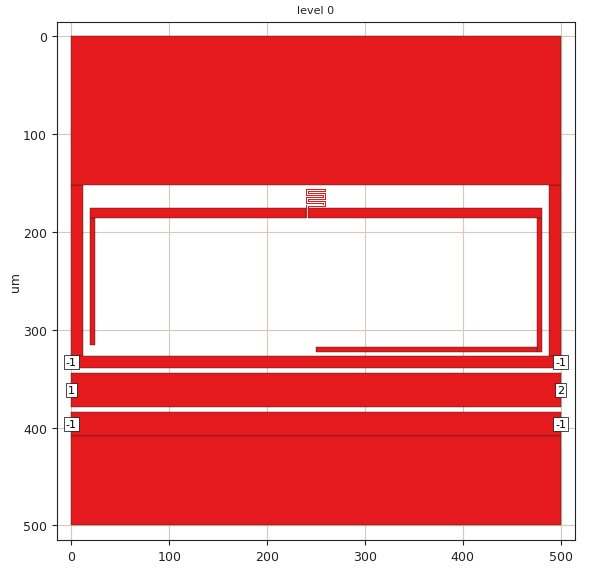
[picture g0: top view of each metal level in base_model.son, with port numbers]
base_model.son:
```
FTYP SONPROJ 19 ! Sonnet Project File
VER 18.58
HEADER
LIC dias60.1.75362
DAT 05/21/2025 12:51:32
BUILT_BY_CREATED xgeom 13.52 04/05/2012 11:22:39
BUILT_BY_SAVED sonnet 18.58
MDATE 05/21/2025 12:51:32
HDATE 05/21/2025 12:51:32
END HEADER
DIM
ANG DEG
CAP PF
CON /OH
FREQ GHZ
IND NH
LNG UM
RES OH
END DIM
CONTROL
VARSWP
OPTIONS  -dj
SPEED 2
CACHE_ABS 1
Q_ACC Y
DET_ABS_RES Y
END CONTROL
GEO
TMET "Lossless" 0 SUP 0 0 0 0
BMET "Lossless" 0 SUP 0 0 0 0
MET "superconductor" 1 SUP 0 0 0 5
MET "TiN multi" 2 SUP 0 0 0 5
MET "thick Ta" 3 SUP 0 0 0 0.001
BOX 1 500 500 1000 1000 20 0
      200 1 1 0 0 0 0 "Unnamed"
      450 9.3 1 0 0 0 0 "Sapphire" A 11.5 1 0 0 0 
LORGN 0 500 U 
POR1 BOX
POLY 690 1
1
-1 50 0 0 0 500 396.5 
POR1 BOX
POLY 690 1
3
-1 50 0 0 0 0 396.5 
POR1 BOX
POLY 695 1
3
1 50 0 0 0 0 361.5 
POR1 BOX
POLY 695 1
1
2 50 0 0 0 500 361.5 
POR1 BOX
POLY 901 1
1
-1 50 0 0 0 500 333 
POR1 BOX
POLY 901 1
3
-1 50 0 0 0 0 333 
NUM 33
0 5 0 N 690 1 1 100 100 0 0 0 Y
0 384
500 384
500 409
0 409
0 384
END
0 5 0 N 691 1 1 100 100 0 0 0 Y
488 152
500 152
500 327
488 327
488 152
END
0 5 0 N 695 1 1 100 100 0 0 0 Y
0 344
500 344
500 379
0 379
0 344
END
0 5 0 N 696 1 1 100 100 0 0 0 Y
0 409
500 409
500 500
0 500
0 409
END
0 5 0 N 731 1 1 100 100 0 0 0 Y
19 186
24 186
24 316
19 316
19 186
END
0 5 0 N 834 1 1 100 100 0 0 0 Y
241 172
258 172
258 173
241 173
241 172
END
0 5 0 N 835 1 1 100 100 0 0 0 Y
257 163
258 163
258 164
257 164
257 163
END
0 5 0 N 836 1 1 100 100 0 0 0 Y
259 169
260 169
260 174
259 174
259 169
END
0 5 0 N 837 1 1 100 100 0 0 0 Y
240 164
241 164
241 170
240 170
240 164
END
0 5 0 N 838 1 1 100 100 0 0 0 Y
257 171
258 171
258 172
257 172
257 171
END
0 5 0 N 839 1 1 100 100 0 0 0 Y
240 156
259 156
259 157
240 157
240 156
END
0 5 0 N 840 1 1 100 100 0 0 0 Y
242 160
260 160
260 161
242 161
242 160
END
0 5 0 N 841 1 1 100 100 0 0 0 Y
241 164
258 164
258 165
241 165
241 164
END
0 5 0 N 842 1 1 100 100 0 0 0 Y
259 156
260 156
260 158
259 158
259 156
END
0 5 0 N 843 1 1 100 100 0 0 0 Y
242 174
260 174
260 175
242 175
242 174
END
0 5 0 N 844 1 1 100 100 0 0 0 Y
240 157
241 157
241 162
240 162
240 157
END
0 5 0 N 845 1 1 100 100 0 0 0 Y
240 170
258 170
258 171
240 171
240 170
END
0 5 0 N 846 1 1 100 100 0 0 0 Y
19 176
240 176
240 186
19 186
19 176
END
0 5 0 N 847 1 1 100 100 0 0 0 Y
242 158
260 158
260 159
242 159
242 158
END
0 5 0 N 848 1 1 100 100 0 0 0 Y
242 159
243 159
243 160
242 160
242 159
END
0 5 0 N 849 1 1 100 100 0 0 0 Y
242 167
243 167
243 168
242 168
242 167
END
0 5 0 N 850 1 1 100 100 0 0 0 Y
242 168
260 168
260 169
242 169
242 168
END
0 5 0 N 851 1 1 100 100 0 0 0 Y
242 166
260 166
260 167
242 167
242 166
END
0 5 0 N 852 1 1 100 100 0 0 0 Y
242 175
243 175
243 176
242 176
242 175
END
0 5 0 N 853 1 1 100 100 0 0 0 Y
259 161
260 161
260 166
259 166
259 161
END
0 5 0 N 854 1 1 100 100 0 0 0 Y
240 162
258 162
258 163
240 163
240 162
END
0 5 0 N 855 1 1 100 100 0 0 0 Y
242 176
481 176
481 186
242 186
242 176
END
0 5 0 N 856 1 1 100 100 0 0 0 Y
240 172
241 172
241 186
240 186
240 172
END
0 5 0 N 878 1 1 100 100 0 0 0 Y
0 152
12 152
12 327
0 327
0 152
END
0 5 0 N 900 1 1 100 100 0 0 0 Y
0 0
500 0
500 152
0 152
0 0
END
0 5 0 N 901 1 1 100 100 0 0 0 Y
0 327
500 327
500 339
0 339
0 327
END
0 5 0 N 253 1 1 100 100 0 0 0 Y
476 186
481 186
481 323
476 323
476 186
END
0 5 0 N 150 1 1 100 100 0 0 0 Y
250 318
476 318
476 323
250 323
250 318
END
END GEO
OPT
MAX 100
END OPT
VARSWP
ENABLED Y
FREQ Y AY ABS_ENTRY 2.9003 5.4503 -1 2000 
END
END VARSWP
FILEOUT
CSV D Y $BASENAME.csv NC 15 S MA R 50.00000
FOLDER .
END FILEOUT
TRANSLATOR
GDSEXPORT
UseTLs true
SepObj false
SepMat true
DivideMulti false
Circles false
CircleType inscribed
CircleSize 0
KeepMetals true
KeepVias false
KeepViaPads false
KeepBricks true
KeepEdgeVias false
KeepParent false
ConvertParent false
AllEdgeViasAsVia false
END
END TRANSLATOR
```
